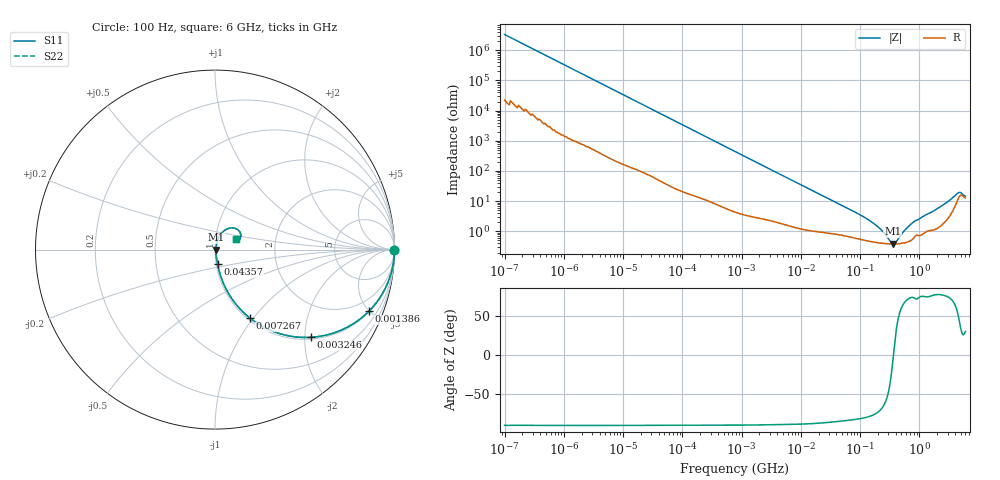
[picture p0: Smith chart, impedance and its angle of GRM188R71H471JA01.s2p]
!Murata Part Number: GRM188R71H471JA01
!These Parameters are Measured in Series Mode Connection
!Data Generated on Mar 30, 2021
!  o--ll--o
!Port1  Port2
!  o------o
!Operation Temp=25[degC], DC Bias Voltage=0[V]
!Freq. Start=100[Hz] Stop=6[GHz] 401[Steps]
# Hz S RI R 50
!Freq.(Hz) S11(Real) S11(Imag) S21(Real) S21(Imag) S12(Real) S12(Imag) S22(Real) S22(Imag)
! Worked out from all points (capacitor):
!   401 points, 100 Hz to 6 GHz, reference 50 ohm
!   read as one part in series: C = 477 pF near 109 Hz
!   lowest |Z| = 388 mohm at 357.3 MHz (marker M1)
!   series resonance near 365.7 MHz, so ESL is about 400 pH
!   S11 on the Smith chart (normalised r, x): 100 Hz: open; 1.386 MHz: 1.06, -4.98; 3.246 MHz: 1.04, -2.14; 7.267 MHz: 1.03, -0.96; 43.57 MHz: 1.02, -0.16; 6 GHz: 1.26, +0.15
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100  1 -3e-05  2e-07 3e-05  2e-07 3e-05  1 -3e-05
335  1 -9.99e-05  6e-07 9.99e-05  6e-07 9.99e-05  1 -9.99e-05
2008  1 -0.000596  3.1e-06 0.000596  3.1e-06 0.000596  1 -0.000596
40335  0.9998 -0.0119  0.00021 0.0119  0.00021 0.0119  0.9998 -0.0119
241822  0.9945 -0.0702  0.00552 0.0702  0.00552 0.0702  0.9945 -0.0702
774597  0.9499 -0.2133  0.0501 0.2133  0.0501 0.2133  0.9499 -0.2133
1386327  0.8578 -0.3429  0.1422 0.3429  0.1422 0.3429  0.8578 -0.3429
3245845  0.5332 -0.4887  0.4668 0.4887  0.4668 0.4887  0.5332 -0.4887
7266822  0.1958 -0.3825  0.8042 0.3825  0.8042 0.3825  0.1958 -0.3825
1.555665e7  0.0577 -0.2116  0.9423 0.2116  0.9423 0.2116  0.0577 -0.2116
4.35672e7  0.0143 -0.0803  0.9857 0.0803  0.9857 0.0803  0.0143 -0.0803
1.596157e8  0.00488 -0.0194  0.9951 0.0194  0.9951 0.0194  0.00488 -0.0194
2.283698e8  0.00416 -0.0104  0.9958 0.0104  0.9958 0.0104  0.00416 -0.0104
3.124326e8  0.00387 -0.00339  0.9961 0.00339  0.9961 0.00339  0.00387 -0.00339
3.573489e8  0.00383 -0.000491  0.9962 0.000491  0.9962 0.000491  0.00383 -0.000491
4.087225e8  0.00386 0.00242  0.9961 -0.00242  0.9961 -0.00242  0.00386 0.00242
5.847788e8  0.00435 0.0107  0.9956 -0.0107  0.9956 -0.0107  0.00435 0.0107
8.366708e8  0.00699 0.0207  0.993 -0.0207  0.993 -0.0207  0.00699 0.0207
2.802721e9  0.028 0.0798  0.972 -0.0798  0.972 -0.0798  0.028 0.0798
4.385646e9  0.1092 0.1194  0.8908 -0.1194  0.8908 -0.1194  0.1092 0.1194
4.796499e9  0.1397 0.0974  0.8603 -0.0974  0.8603 -0.0974  0.1397 0.0974
6e9  0.1173 0.058  0.8827 -0.058  0.8827 -0.058  0.1173 0.058
